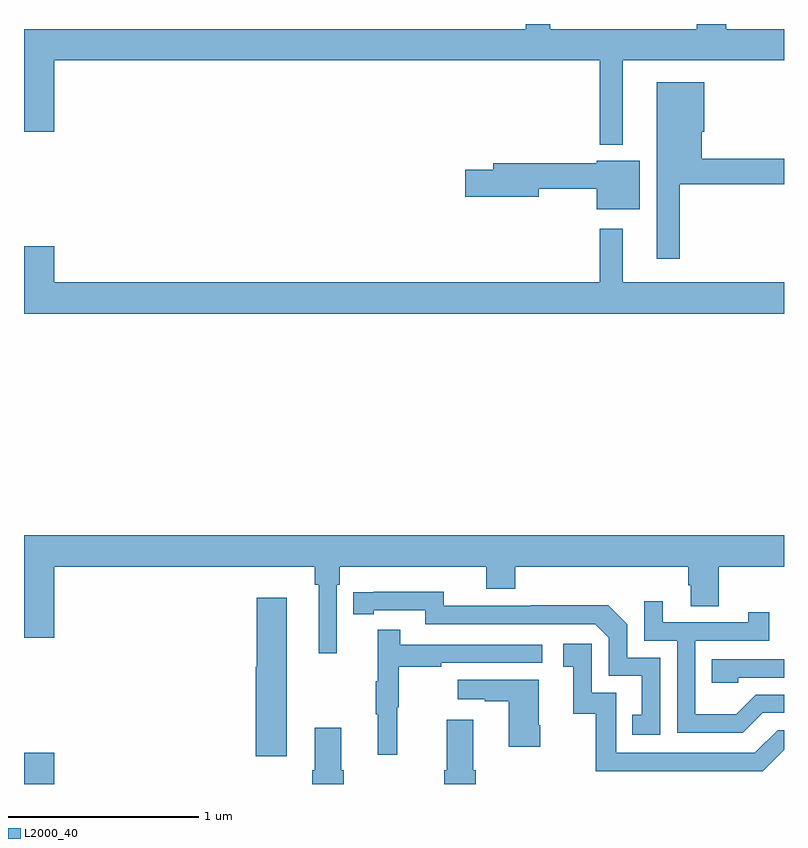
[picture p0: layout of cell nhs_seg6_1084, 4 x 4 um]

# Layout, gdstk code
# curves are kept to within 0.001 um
import gdstk
lib = gdstk.Library(unit=1e-6, precision=1e-09)
def R(c, l, rs):  # rectangles x0, y0, x1, y1
    for r in rs: c.add(gdstk.rectangle(r[:2], r[2:], *l))
def P(c, l, *ps):  # polygons
    for p in ps: c.add(gdstk.Polygon(p, *l))
L2000_40 = (2000, 40)

nhs_seg6_1084 = lib.new_cell('nhs_seg6_1084')
R(nhs_seg6_1084, L2000_40, [(177,971.5,177.16,971.665)])
P(nhs_seg6_1084, L2000_40, [(180.151,975.308),(181,975.308),(181,975.472),(180.695,975.472),(180.695,975.5),(180.542,975.5),(180.542,975.472),(179.771,975.472),(179.771,975.5),(179.641,975.5),(179.641,975.472),(177,975.472),(177,974.934),(177.16,974.934),(177.16,975.308),(180.03,975.308),(180.03,974.864),(180.151,974.864)],
  [(180.451,974.656),(181,974.656),(181,974.792),(180.568,974.792),(180.568,974.934),(180.58,974.934),(180.58,975.193),(180.329,975.193),(180.329,974.265),(180.451,974.265)],
  [(180.241,974.779),(180.014,974.779),(180.014,974.768),(179.471,974.768),(179.471,974.732),(179.322,974.732),(179.322,974.59),(179.71,974.59),(179.71,974.632),(180.014,974.632),(180.014,974.525),(180.241,974.525)],
  [(181,974.14),(180.151,974.14),(180.151,974.422),(180.03,974.422),(180.03,974.14),(177.16,974.14),(177.16,974.329),(177,974.329),(177,973.976),(181,973.976)],
  [(177,972.27),(177.16,972.27),(177.16,972.644),(178.531,972.644),(178.531,972.548),(178.55,972.548),(178.55,972.189),(178.647,972.189),(178.647,972.548),(178.661,972.548),(178.661,972.644),(179.432,972.644),(179.432,972.527),(179.585,972.527),(179.585,972.644),(180.497,972.644),(180.497,972.546),(180.509,972.546),(180.509,972.436),(180.657,972.436),(180.657,972.644),(181,972.644),(181,972.808),(177,972.808)],
  [(180.348,972.165),(180.174,972.165),(180.174,972.342),(180.076,972.44),(179.668,972.44),(179.668,972.438),(179.208,972.438),(179.208,972.511),(178.732,972.51),(178.732,972.394),(178.84,972.394),(178.84,972.414),(179.112,972.414),(179.112,972.342),(180.006,972.342),(180.078,972.27),(180.078,972.069),(180.251,972.069),(180.251,971.865),(180.202,971.865),(180.202,971.76),(180.348,971.76)],
  [(178.384,972.481),(178.226,972.481),(178.226,972.117),(178.22,972.117),(178.22,971.646),(178.384,971.646)],
  [(180.889,971.874),(181,971.874),(181,971.97),(180.852,971.97),(180.748,971.866),(180.534,971.866),(180.534,972.255),(180.923,972.255),(180.923,972.403),(180.812,972.403),(180.812,972.351),(180.361,972.351),(180.361,972.463),(180.264,972.463),(180.264,972.255),(180.438,972.255),(180.438,971.769),(180.784,971.769)],
  [(178.964,971.904),(178.972,971.904),(178.972,972.118),(179.195,972.118),(179.195,972.138),(179.728,972.138),(179.728,972.234),(178.979,972.234),(178.979,972.313),(178.862,972.313),(178.862,972.041),(178.851,972.041),(178.851,971.867),(178.862,971.867),(178.862,971.655),(178.964,971.655)],
  [(181,971.68),(181,971.784),(180.966,971.784),(180.846,971.664),(180.117,971.664),(180.117,971.979),(179.988,971.979),(179.988,972.238),(179.838,972.238),(179.838,972.117),(179.891,972.117),(179.891,971.871),(180.009,971.871),(180.009,971.568),(180.888,971.568)],
  [(180.759,972.06),(181,972.06),(181,972.156),(180.619,972.156),(180.619,972.033),(180.759,972.033)],
  [(179.718,971.809),(179.71,971.809),(179.71,972.049),(179.283,972.049),(179.283,971.945),(179.426,971.945),(179.426,971.935),(179.552,971.935),(179.552,971.697),(179.718,971.697)],
  [(179.378,971.572),(179.365,971.572),(179.365,971.839),(179.225,971.839),(179.225,971.572),(179.213,971.572),(179.213,971.5),(179.378,971.5)],
  [(178.682,971.572),(178.669,971.572),(178.669,971.797),(178.529,971.797),(178.529,971.572),(178.517,971.572),(178.517,971.5),(178.682,971.5)])

lib.write_gds('nhs_seg6_1084.gds')
